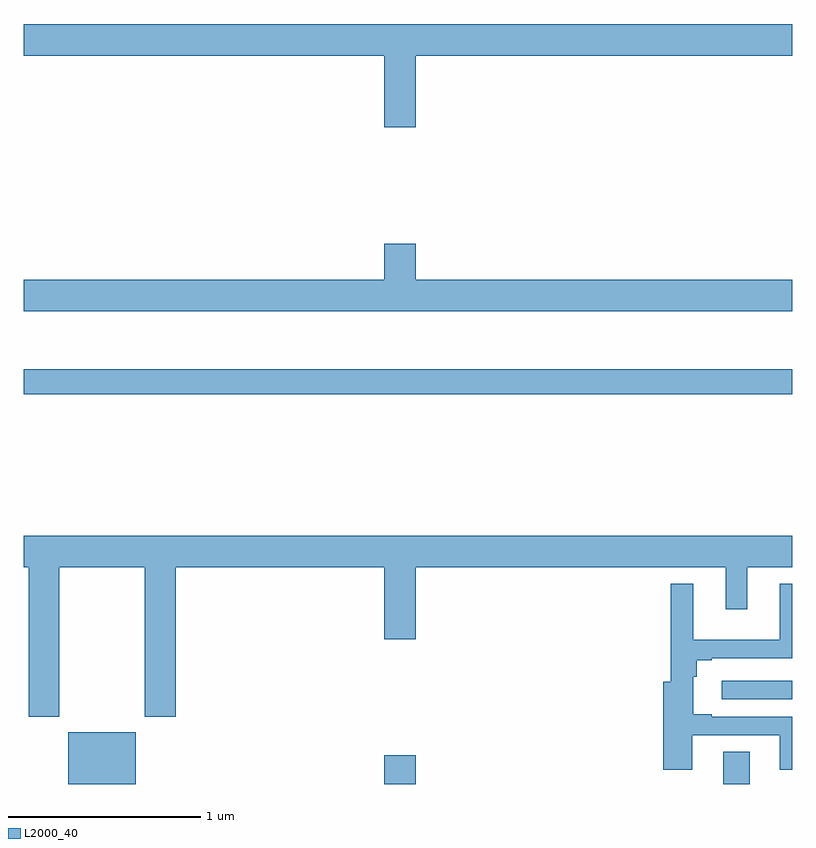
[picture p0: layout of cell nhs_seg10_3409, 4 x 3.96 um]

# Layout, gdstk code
import gdstk
lib = gdstk.Library(unit=1e-6, precision=1e-09)
def R(c, l, rs):  # rectangles x0, y0, x1, y1
    for r in rs: c.add(gdstk.rectangle(r[:2], r[2:], *l))
def P(c, l, *ps):  # polygons
    for p in ps: c.add(gdstk.Polygon(p, *l))
L2000_40 = (2000, 40)

nhs_seg10_3409 = lib.new_cell('nhs_seg10_3409')
R(nhs_seg10_3409, L2000_40, [(295.232,1320.5,295.582,1320.769), (296.876,1320.5,297.04,1320.649), (298.64,1320.5,298.78,1320.668), (298.632,1320.942,299,1321.038), (295,1322.53,299,1322.659)])
P(nhs_seg10_3409, L2000_40, [(295,1324.292),(296.876,1324.292),(296.876,1323.918),(297.04,1323.918),(297.04,1324.292),(299,1324.292),(299,1324.456),(295,1324.456)],
  [(299,1323.124),(297.04,1323.124),(297.04,1323.313),(296.876,1323.313),(296.876,1323.124),(295,1323.124),(295,1322.96),(299,1322.96)],
  [(295.185,1321.628),(295.63,1321.628),(295.63,1320.849),(295.79,1320.849),(295.79,1321.628),(296.876,1321.628),(296.876,1321.254),(297.04,1321.254),(297.04,1321.628),(298.655,1321.628),(298.655,1321.41),(298.765,1321.41),(298.765,1321.628),(299,1321.628),(299,1321.792),(295,1321.792),(295,1321.628),(295.025,1321.628),(295.025,1320.849),(295.185,1320.849)],
  [(298.48,1320.753),(298.934,1320.753),(298.934,1320.573),(299,1320.573),(299,1320.849),(298.582,1320.849),(298.582,1320.862),(298.486,1320.862),(298.486,1321.058),(298.504,1321.058),(298.504,1321.143),(298.582,1321.143),(298.582,1321.155),(299,1321.155),(299,1321.543),(298.934,1321.543),(298.934,1321.252),(298.486,1321.252),(298.486,1321.543),(298.368,1321.543),(298.368,1321.033),(298.328,1321.033),(298.328,1320.573),(298.48,1320.573)])

lib.write_gds('nhs_seg10_3409.gds')
